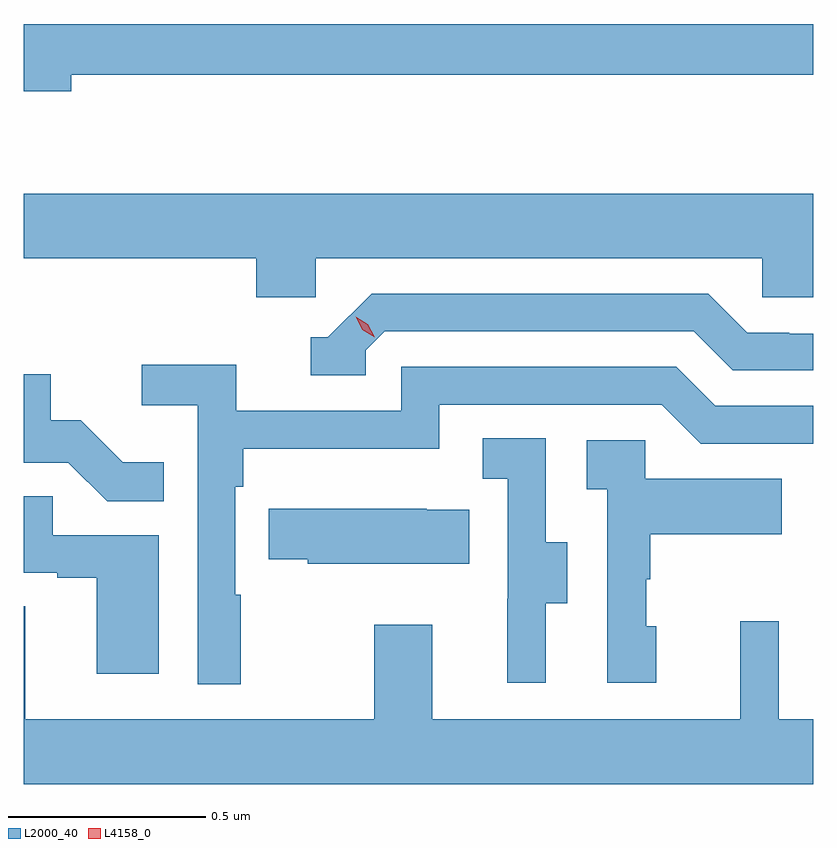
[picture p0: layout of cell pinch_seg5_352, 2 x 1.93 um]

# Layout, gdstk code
import gdstk
lib = gdstk.Library(unit=1e-6, precision=1e-09)
def P(c, l, *ps):  # polygons
    for p in ps: c.add(gdstk.Polygon(p, *l))
L2000_40 = (2000, 40)
L4158_0 = (4158, 0)

pinch_seg5_352 = lib.new_cell('pinch_seg5_352')
P(pinch_seg5_352, L2000_40, [(985.792,893.19),(987.672,893.19),(987.672,893.318),(985.672,893.318),(985.672,893.147),(985.792,893.147)],
  [(986.412,892.724),(987.543,892.724),(987.543,892.626),(987.672,892.626),(987.672,892.888),(985.672,892.888),(985.672,892.724),(986.261,892.724),(986.261,892.626),(986.412,892.626)],
  [(986.538,892.491),(986.586,892.539),(987.369,892.539),(987.468,892.44),(987.672,892.44),(987.672,892.533),(987.612,892.533),(987.612,892.536),(987.505,892.536),(987.406,892.635),(986.553,892.635),(986.442,892.524),(986.399,892.524),(986.399,892.428),(986.538,892.428)],
  [(986.221,891.872),(986.208,891.872),(986.208,892.145),(986.228,892.145),(986.228,892.241),(986.724,892.241),(986.724,892.353),(987.288,892.353),(987.387,892.254),(987.672,892.254),(987.672,892.35),(987.424,892.35),(987.325,892.449),(986.628,892.449),(986.628,892.338),(986.21,892.338),(986.21,892.454),(985.971,892.454),(985.971,892.352),(986.112,892.352),(986.112,891.645),(986.221,891.645)],
  [(986.027,892.207),(985.923,892.207),(985.816,892.314),(985.74,892.314),(985.74,892.431),(985.672,892.431),(985.672,892.206),(985.785,892.206),(985.883,892.108),(986.027,892.108)],
  [(986.995,891.85),(987.049,891.85),(987.049,892.005),(986.994,892.005),(986.994,892.268),(986.835,892.268),(986.835,892.165),(986.898,892.165),(986.898,891.861),(986.897,891.861),(986.897,891.648),(986.995,891.648)],
  [(987.274,891.792),(987.249,891.792),(987.249,891.911),(987.259,891.911),(987.259,892.025),(987.593,892.025),(987.593,892.165),(987.246,892.165),(987.246,892.263),(987.099,892.263),(987.099,892.139),(987.15,892.139),(987.15,891.648),(987.274,891.648)],
  [(986.014,892.023),(985.745,892.023),(985.745,892.121),(985.672,892.121),(985.672,891.927),(985.757,891.927),(985.757,891.915),(985.856,891.915),(985.856,891.672),(986.014,891.672)],
  [(986.801,892.087),(986.693,892.087),(986.693,892.09),(986.293,892.09),(986.293,891.961),(986.391,891.961),(986.391,891.95),(986.801,891.95)],
  [(987.672,891.556),(987.585,891.556),(987.585,891.805),(987.488,891.805),(987.488,891.556),(986.707,891.556),(986.707,891.796),(986.56,891.796),(986.56,891.556),(985.675,891.556),(985.675,891.842),(985.672,891.842),(985.672,891.392),(987.672,891.392)])
P(pinch_seg5_352, L4158_0, [(986.561,892.524),(986.53,892.543),(986.513,892.576),(986.513,892.576),(986.513,892.576),(986.544,892.557),(986.561,892.524),(986.561,892.524)])

lib.write_gds('pinch_seg5_352.gds')
